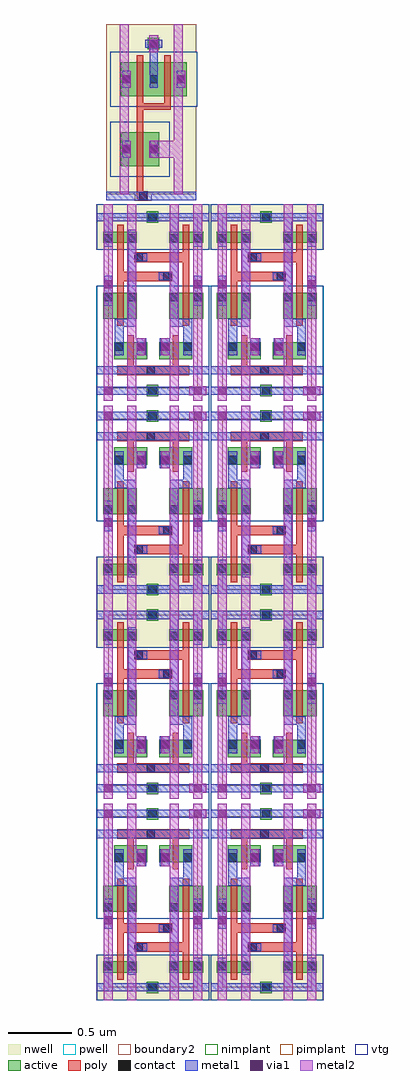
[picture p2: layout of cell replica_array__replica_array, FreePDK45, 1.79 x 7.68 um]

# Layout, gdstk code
import gdstk
lib = gdstk.Library(unit=1e-6, precision=1e-09)
def R(c, l, rs):  # rectangles x0, y0, x1, y1
    for r in rs: c.add(gdstk.rectangle(r[:2], r[2:], *l))
active = (1, 0)
pwell = (2, 0)
nwell = (3, 0)
nimplant = (4, 0)
pimplant = (5, 0)
vtg = (6, 0)
poly = (9, 0)
contact = (10, 0)
metal1 = (11, 0)
via1 = (12, 0)
metal2 = (13, 0)
boundary2 = (239, 0)

replica_array__replica_c = lib.new_cell('replica_array__replica_cell_1rw')
R(replica_array__replica_c, active, [(0.302,-0.045,0.392,0.045), (0.302,-0.045,0.392,0.045), (0.045,0.247,0.12,0.382), (0.045,0.247,0.12,0.382), (0.045,0.247,0.305,0.382), (0.23,0.247,0.305,0.382), (0.23,0.247,0.305,0.382), (0.4,0.247,0.475,0.382), (0.4,0.247,0.475,0.382), (0.4,0.247,0.66,0.382), (0.585,0.247,0.66,0.382), (0.585,0.247,0.66,0.382), (0.045,0.307,0.12,0.382), (0.23,0.307,0.305,0.382), (0.4,0.307,0.475,0.382), (0.585,0.307,0.66,0.382), (-0.04,0.567,0.225,0.772), (-0.035,0.567,0.04,0.772), (-0.035,0.567,0.04,0.772), (0.15,0.567,0.225,0.772), (0.15,0.567,0.225,0.772), (0.48,0.567,0.555,0.772), (0.48,0.567,0.555,0.772), (0.48,0.567,0.745,0.772), (0.665,0.567,0.74,0.772), (0.665,0.567,0.74,0.772), (-0.035,0.697,0.04,0.772), (0.15,0.697,0.225,0.772), (0.48,0.697,0.555,0.772), (0.665,0.697,0.74,0.772), (-0.04,1.162,0.225,1.252), (-0.035,1.162,0.04,1.237), (-0.035,1.162,0.04,1.252), (-0.035,1.162,0.04,1.252), (0.15,1.162,0.225,1.237), (0.15,1.162,0.225,1.252), (0.15,1.162,0.225,1.252), (0.48,1.162,0.555,1.237), (0.48,1.162,0.555,1.252), (0.48,1.162,0.555,1.252), (0.48,1.162,0.745,1.252), (0.665,1.162,0.74,1.237), (0.665,1.162,0.74,1.252), (0.665,1.162,0.74,1.252), (0.302,1.32,0.392,1.41), (0.302,1.32,0.392,1.41)])
R(replica_array__replica_c, pwell, [(-0.095,-0.1,0.8,0.827), (0.247,-0.1,0.447,0.1), (0.247,-0.08,0.447,0.12), (-0.01,0.192,0.36,0.437), (0.345,0.192,0.715,0.437), (-0.09,0.512,0.28,0.827), (0.425,0.512,0.795,0.827)])
R(replica_array__replica_c, nwell, [(-0.095,1.107,0.8,1.465), (-0.09,1.107,0.28,1.307), (0.425,1.107,0.795,1.307), (0.247,1.265,0.447,1.465), (0.247,1.265,0.447,1.465)])
R(replica_array__replica_c, nimplant, [(0.045,0.247,0.305,0.382), (0.4,0.247,0.66,0.382), (-0.035,0.567,0.225,0.772), (0.48,0.567,0.74,0.772), (0.302,1.32,0.392,1.41), (0.302,1.32,0.392,1.41)])
R(replica_array__replica_c, pimplant, [(0.302,-0.045,0.392,0.045), (-0.035,1.162,0.225,1.252), (0.48,1.162,0.74,1.252)])
R(replica_array__replica_c, vtg, [(-0.09,-0.1,0.795,0.827), (-0.01,0.192,0.36,0.437), (0.345,0.192,0.715,0.437), (-0.09,0.512,0.28,0.827), (0.425,0.512,0.795,0.827), (-0.09,1.107,0.795,1.465), (-0.09,1.107,0.28,1.307), (0.425,1.107,0.795,1.307)])
R(replica_array__replica_c, poly, [(0.07,0.122,0.635,0.197), (0.297,0.122,0.372,0.197), (0.15,0.192,0.2,0.437), (0.15,0.192,0.2,0.247), (0.505,0.192,0.555,0.437), (0.505,0.192,0.555,0.247), (0.15,0.382,0.2,0.437), (0.505,0.382,0.555,0.437), (0.07,0.512,0.12,0.567), (0.07,0.512,0.12,0.827), (0.585,0.512,0.635,0.567), (0.585,0.512,0.635,0.827), (0.07,0.772,0.12,0.827), (0.585,0.772,0.635,0.827), (0.07,0.827,0.12,1.107), (0.07,0.827,0.12,1.107), (0.585,0.827,0.635,1.107), (0.585,0.827,0.635,1.107), (0.07,0.862,0.502,0.937), (0.427,0.862,0.502,0.937), (0.427,0.862,0.502,0.937), (0.202,1.012,0.635,1.087), (0.202,1.012,0.277,1.087), (0.202,1.012,0.277,1.087), (0.07,1.107,0.12,1.162), (0.07,1.107,0.12,1.307), (0.585,1.107,0.635,1.162), (0.585,1.107,0.635,1.307), (0.07,1.252,0.12,1.307), (0.585,1.252,0.635,1.307)])
R(replica_array__replica_c, contact, [(0.315,-0.032,0.38,0.032), (0.302,0.127,0.367,0.192), (0.05,0.312,0.115,0.377), (0.235,0.312,0.3,0.377), (0.405,0.312,0.47,0.377), (0.59,0.312,0.655,0.377), (-0.032,0.702,0.032,0.767), (0.155,0.702,0.22,0.767), (0.485,0.702,0.55,0.767), (0.672,0.702,0.737,0.767), (0.432,0.867,0.497,0.932), (0.432,0.867,0.497,0.932), (0.207,1.017,0.272,1.082), (0.207,1.017,0.272,1.082), (-0.032,1.167,0.032,1.232), (0.155,1.167,0.22,1.232), (0.485,1.167,0.55,1.232), (0.672,1.167,0.737,1.232), (0.315,1.332,0.38,1.397)])
R(replica_array__replica_c, metal1, [(-0.09,-0.032,0.795,0.032), (0.637,-0.032,0.772,0.032), (0.637,-0.032,0.772,0.032), (0.637,-0.032,0.772,0.032), (0.637,-0.032,0.772,0.032), (-0.09,0.127,0.795,0.192), (0.267,0.127,0.402,0.192), (-0.085,0.13,-0.032,0.192), (0.62,0.13,0.672,0.192), (0.05,0.277,0.12,0.567), (0.05,0.277,0.115,0.412), (0.222,0.277,0.287,0.412), (0.235,0.277,0.3,0.412), (0.405,0.277,0.47,0.412), (0.417,0.277,0.482,0.412), (0.59,0.277,0.66,0.567), (0.59,0.277,0.655,0.412), (0.05,0.502,0.22,0.567), (0.155,0.502,0.22,1.242), (0.485,0.502,0.55,1.132), (0.485,0.502,0.66,0.567), (-0.035,0.667,0.035,0.802), (-0.035,0.667,0.035,0.802), (-0.03,0.667,0.035,0.802), (0.155,0.667,0.22,0.802), (0.485,0.667,0.55,0.802), (0.67,0.667,0.74,0.802), (0.67,0.667,0.74,0.802), (0.67,0.667,0.74,0.802), (0.67,0.667,0.74,0.802), (0.67,0.667,0.74,0.802), (0.67,0.667,0.74,0.802), (0.67,0.667,0.735,0.802), (-0.032,0.77,0.032,0.905), (-0.032,0.77,0.032,0.905), (-0.032,0.77,0.032,0.905), (-0.032,0.77,0.032,0.905), (-0.032,0.77,0.032,0.905), (-0.032,0.77,0.032,0.905), (0.672,0.77,0.737,0.905), (0.672,0.77,0.737,0.905), (0.672,0.77,0.737,0.905), (0.672,0.77,0.737,0.905), (0.672,0.77,0.737,0.905), (0.672,0.77,0.737,0.905), (0.672,0.77,0.737,0.905), (0.672,0.77,0.737,0.905), (0.672,0.77,0.737,0.905), (0.672,0.77,0.737,0.905), (0.672,0.77,0.737,0.905), (0.672,0.77,0.737,0.905), (0.672,0.77,0.737,0.905), (0.672,0.77,0.737,0.905), (0.672,0.77,0.737,0.905), (0.672,0.77,0.737,0.905), (0.672,0.77,0.737,0.905), (0.672,0.77,0.737,0.905), (0.672,0.77,0.737,0.905), (0.672,0.77,0.737,0.905), (0.672,0.77,0.737,0.905), (0.672,0.77,0.737,0.905), (0.672,0.77,0.737,0.905), (0.672,0.77,0.737,0.905), (0.397,0.867,0.532,0.932), (0.397,0.867,0.532,0.932), (0.172,1.017,0.307,1.082), (0.172,1.017,0.307,1.082), (-0.035,1.132,0.035,1.332), (-0.03,1.132,0.035,1.267), (0.155,1.132,0.22,1.267), (0.485,1.132,0.55,1.345), (0.67,1.132,0.74,1.332), (0.67,1.132,0.74,1.332), (0.67,1.132,0.735,1.267), (-0.09,1.332,0.795,1.397)])
R(replica_array__replica_c, via1, [(-0.032,-0.032,0.032,0.032), (-0.032,-0.032,0.032,0.032), (0.672,-0.032,0.737,0.032), (0.672,-0.032,0.737,0.032), (0.672,-0.032,0.737,0.032), (0.672,-0.032,0.737,0.032), (0.222,0.312,0.287,0.377), (0.417,0.312,0.482,0.377), (-0.032,0.805,0.032,0.87), (-0.032,0.805,0.032,0.87), (-0.032,0.805,0.032,0.87), (-0.032,0.805,0.032,0.87), (-0.032,0.805,0.032,0.87), (-0.032,0.805,0.032,0.87), (0.672,0.805,0.737,0.87), (0.672,0.805,0.737,0.87), (0.672,0.805,0.737,0.87), (0.672,0.805,0.737,0.87), (0.672,0.805,0.737,0.87), (0.672,0.805,0.737,0.87), (0.672,0.805,0.737,0.87), (0.672,0.805,0.737,0.87), (0.672,0.805,0.737,0.87), (0.672,0.805,0.737,0.87), (0.672,0.805,0.737,0.87), (0.672,0.805,0.737,0.87), (0.672,0.805,0.737,0.87), (0.672,0.805,0.737,0.87), (0.672,0.805,0.737,0.87), (0.672,0.805,0.737,0.87), (0.672,0.805,0.737,0.87), (0.672,0.805,0.737,0.87), (0.672,0.805,0.737,0.87), (0.672,0.805,0.737,0.87), (0.672,0.805,0.737,0.87), (0.672,0.805,0.737,0.87), (0.672,0.805,0.737,0.87), (0.672,0.805,0.737,0.87)])
R(replica_array__replica_c, metal2, [(-0.035,-0.08,0.035,1.465), (0.15,-0.08,0.22,1.465), (0.485,-0.08,0.555,1.465), (0.67,-0.08,0.74,1.465), (0.637,-0.035,0.772,0.035), (0.637,-0.035,0.772,0.035), (0.637,-0.035,0.772,0.035), (0.637,-0.035,0.772,0.035), (0.492,-0.032,0.55,0.027), (-0.03,-0.03,0.03,0.027), (0.157,-0.025,0.212,0.027), (0.675,-0.025,0.735,0.032), (0.67,-0.012,0.74,1.397), (0.22,0.277,0.29,0.412), (0.415,0.277,0.485,0.412), (-0.035,0.77,0.035,0.905), (-0.035,0.77,0.035,0.905), (-0.035,0.77,0.035,0.905), (-0.035,0.77,0.035,0.905), (-0.035,0.77,0.035,0.905), (-0.035,0.77,0.035,0.905), (0.67,0.77,0.74,0.905), (0.67,0.77,0.74,0.905), (0.67,0.77,0.74,0.905), (0.67,0.77,0.74,0.905), (0.67,0.77,0.74,0.905), (0.67,0.77,0.74,0.905), (0.67,0.77,0.74,0.905), (0.67,0.77,0.74,0.905), (0.67,0.77,0.74,0.905), (0.67,0.77,0.74,0.905), (0.67,0.77,0.74,0.905), (0.67,0.77,0.74,0.905), (0.67,0.77,0.74,0.905), (0.67,0.77,0.74,0.905), (0.67,0.77,0.74,0.905), (0.67,0.77,0.74,0.905), (0.67,0.77,0.74,0.905), (0.67,0.77,0.74,0.905), (0.67,0.77,0.74,0.905), (0.67,0.77,0.74,0.905), (0.67,0.77,0.74,0.905), (0.67,0.77,0.74,0.905), (0.67,0.77,0.74,0.905), (0.67,0.77,0.74,0.905)])
R(replica_array__replica_c, boundary2, [(0,0.02,0.705,1.365)])
replica_array__replica_c.add(gdstk.Label('gnd', (0.345,0), layer=11, texttype=0))
replica_array__replica_c.add(gdstk.Label('vdd', (0.35,1.365), layer=11, texttype=0))
replica_array__replica_c.add(gdstk.Label('wl', (-0.05,0.167), layer=11, texttype=0))
replica_array__replica_c.add(gdstk.Label('bl', (0.19,0.003), layer=13, texttype=0))
replica_array__replica_c.add(gdstk.Label('br', (0.52,0.003), layer=13, texttype=0))

replica_array__sram_1rw_ = lib.new_cell('replica_array__sram_1rw_32x16_freepdk45_contact_11')
R(replica_array__sram_1rw_, active, [(0,0.022,0.09,0.112)])
R(replica_array__sram_1rw_, nwell, [(-0.055,-0.033,0.145,0.168)])
R(replica_array__sram_1rw_, pimplant, [(0,0.022,0.09,0.112)])
R(replica_array__sram_1rw_, contact, [(0.013,0.035,0.077,0.1)])
R(replica_array__sram_1rw_, metal1, [(0.013,0,0.077,0.135)])
R(replica_array__sram_1rw_, boundary2, [(-0.055,-0.033,0.145,0.168)])

c_replica_array__sram_1rw_ = lib.new_cell('replica_array__sram_1rw_32x16_freepdk45_pmos_m1_w0_270_sm1_dm1')
R(c_replica_array__sram_1rw_, active, [(0,0,0.305,0.27)])
R(c_replica_array__sram_1rw_, nwell, [(-0.08,-0.08,0.385,0.35)])
R(c_replica_array__sram_1rw_, pimplant, [(0,0,0.305,0.27)])
R(c_replica_array__sram_1rw_, vtg, [(-0.08,-0.08,0.385,0.35)])
R(c_replica_array__sram_1rw_, poly, [(0.127,-0.055,0.177,0.325), (0.127,-0.055,0.177,0.325)])
R(c_replica_array__sram_1rw_, metal1, [(0.013,0.068,0.077,0.203), (0.227,0.068,0.292,0.203)])
R(c_replica_array__sram_1rw_, boundary2, [(-0.08,-0.08,0.385,0.35)])
c_replica_array__sram_1rw_.add(gdstk.Reference(replica_array__sram_1rw_, (0,0.068)))
c_replica_array__sram_1rw_.add(gdstk.Reference(replica_array__sram_1rw_, (0.215,0.068)))
c_replica_array__sram_1rw_.add(gdstk.Label('G', (0.152,0.135), layer=9, texttype=0))
c_replica_array__sram_1rw_.add(gdstk.Label('S', (0.045,0.135), layer=11, texttype=0))
c_replica_array__sram_1rw_.add(gdstk.Label('D', (0.26,0.135), layer=11, texttype=0))

c_replica_array__sram_1rw__ = lib.new_cell('replica_array__sram_1rw_32x16_freepdk45_contact_14')
R(c_replica_array__sram_1rw__, poly, [(0.03,0,0.105,0.075)])
R(c_replica_array__sram_1rw__, contact, [(0.035,0.005,0.1,0.07)])
R(c_replica_array__sram_1rw__, metal1, [(0,0.005,0.135,0.07)])
R(c_replica_array__sram_1rw__, boundary2, [(0,0,0.135,0.075)])

c_replica_array__sram_1rw___ = lib.new_cell('replica_array__sram_1rw_32x16_freepdk45_contact_22')
R(c_replica_array__sram_1rw___, active, [(0.022,0,0.112,0.09)])
R(c_replica_array__sram_1rw___, nwell, [(-0.033,-0.055,0.168,0.145)])
R(c_replica_array__sram_1rw___, nimplant, [(0.022,0,0.112,0.09)])
R(c_replica_array__sram_1rw___, contact, [(0.035,0.013,0.1,0.077)])
R(c_replica_array__sram_1rw___, metal1, [(0,0.013,0.135,0.077)])
R(c_replica_array__sram_1rw___, boundary2, [(-0.033,-0.055,0.168,0.145)])

c_replica_array__sram_1rw____ = lib.new_cell('replica_array__sram_1rw_32x16_freepdk45_contact_17')
R(c_replica_array__sram_1rw____, metal1, [(0,0.035,0.135,0.1)])
R(c_replica_array__sram_1rw____, via1, [(0.035,0.035,0.1,0.1)])
R(c_replica_array__sram_1rw____, metal2, [(0.033,0,0.103,0.135)])
R(c_replica_array__sram_1rw____, boundary2, [(0,0,0.135,0.135)])

c_replica_array__sram_1rw_____ = lib.new_cell('replica_array__sram_1rw_32x16_freepdk45_contact_23')
R(c_replica_array__sram_1rw_____, metal1, [(0.002,0,0.068,0.135)])
R(c_replica_array__sram_1rw_____, via1, [(0.002,0.035,0.068,0.1)])
R(c_replica_array__sram_1rw_____, metal2, [(0,0,0.07,0.135)])
R(c_replica_array__sram_1rw_____, boundary2, [(0,0,0.07,0.135)])

replica_array__gen_prech = lib.new_cell('replica_array__gen_precharge')
R(replica_array__gen_prech, nwell, [(0,0,0.705,1.34)])
R(replica_array__gen_prech, poly, [(0.24,-0.037,0.29,0.013), (0.265,-0.037,0.29,0.013), (0.24,-0.013,0.29,0.165), (0.24,0.545,0.29,0.715), (0.24,0.665,0.505,0.715)])
R(replica_array__gen_prech, metal1, [(0,-0.045,0.705,0.02), (0.34,0.905,0.405,1.185), (0.34,1.153,0.405,1.218)])
R(replica_array__gen_prech, metal2, [(0.105,0,0.175,1.34), (0.105,0,0.175,1.34), (0.53,0,0.6,1.34), (0.53,0,0.6,1.34), (0.14,0.288,0.157,0.422), (0.372,0.288,0.565,0.422), (0.14,0.837,0.157,0.972), (0.565,0.837,0.588,0.972)])
R(replica_array__gen_prech, boundary2, [(0,0,0.705,1.34)])
replica_array__gen_prech.add(gdstk.Reference(c_replica_array__sram_1rw_, (0.112,0.22)))
replica_array__gen_prech.add(gdstk.Reference(c_replica_array__sram_1rw_, (0.112,0.77)))
replica_array__gen_prech.add(gdstk.Reference(c_replica_array__sram_1rw_, (0.328,0.77)))
replica_array__gen_prech.add(gdstk.Reference(c_replica_array__sram_1rw__, (0.222,-0.05)))
replica_array__gen_prech.add(gdstk.Reference(c_replica_array__sram_1rw___, (0.305,1.14)))
replica_array__gen_prech.add(gdstk.Reference(c_replica_array__sram_1rw____, (0.305,1.117)))
replica_array__gen_prech.add(gdstk.Reference(c_replica_array__sram_1rw_____, (0.122,0.288)))
replica_array__gen_prech.add(gdstk.Reference(c_replica_array__sram_1rw_____, (0.338,0.288)))
replica_array__gen_prech.add(gdstk.Reference(c_replica_array__sram_1rw_____, (0.122,0.837)))
replica_array__gen_prech.add(gdstk.Reference(c_replica_array__sram_1rw_____, (0.552,0.837)))
replica_array__gen_prech.add(gdstk.Label('en_bar', (0.352,-0.013), layer=11, texttype=0))
replica_array__gen_prech.add(gdstk.Label('vdd', (0.372,1.185), layer=11, texttype=0))
replica_array__gen_prech.add(gdstk.Label('bl', (0.14,0.67), layer=13, texttype=0))
replica_array__gen_prech.add(gdstk.Label('br', (0.565,0.67), layer=13, texttype=0))

replica_array__replica_a = lib.new_cell('replica_array__replica_array')
replica_array__replica_a.add(gdstk.Reference(replica_array__replica_c, (0.095,1.465), x_reflection=True))
replica_array__replica_a.add(gdstk.Reference(replica_array__replica_c, (0.99,1.465), x_reflection=True))
replica_array__replica_a.add(gdstk.Reference(replica_array__replica_c, (0.095,1.665)))
replica_array__replica_a.add(gdstk.Reference(replica_array__replica_c, (0.99,1.665)))
replica_array__replica_a.add(gdstk.Reference(replica_array__replica_c, (0.095,4.595), x_reflection=True))
replica_array__replica_a.add(gdstk.Reference(replica_array__replica_c, (0.99,4.595), x_reflection=True))
replica_array__replica_a.add(gdstk.Reference(replica_array__replica_c, (0.095,4.795)))
replica_array__replica_a.add(gdstk.Reference(replica_array__replica_c, (0.99,4.795)))
replica_array__replica_a.add(gdstk.Reference(replica_array__gen_prech, (0.08,6.34)))

lib.write_gds('replica_array__replica_array.gds')
